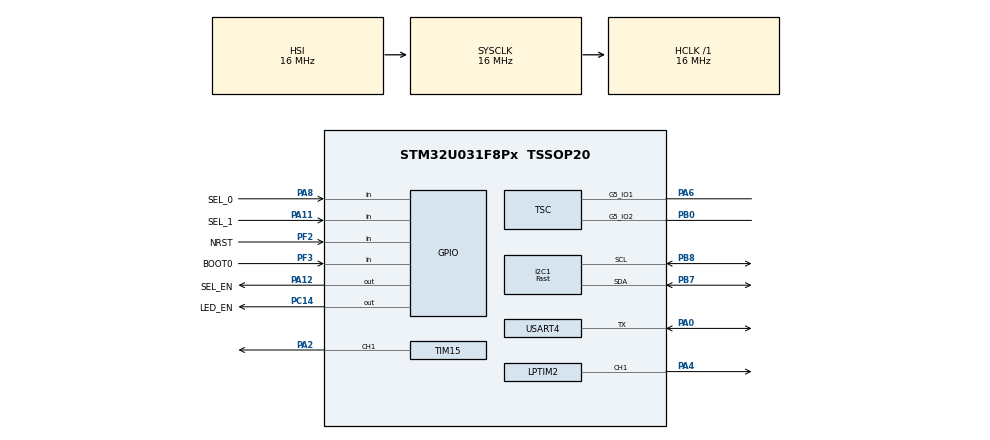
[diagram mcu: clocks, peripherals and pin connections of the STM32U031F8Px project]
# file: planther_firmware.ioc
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Dma.Request0=TIM15_CH1
Dma.TIM15_CH1.0.Direction=DMA_MEMORY_TO_PERIPH
Dma.TIM15_CH1.0.EventEnable=DISABLE
Dma.TIM15_CH1.0.Instance=DMA1_Channel1
Dma.TIM15_CH1.0.MemDataAlignment=DMA_MDATAALIGN_HALFWORD
Dma.TIM15_CH1.0.MemInc=DMA_MINC_ENABLE
Dma.TIM15_CH1.0.Mode=DMA_NORMAL
Dma.TIM15_CH1.0.PeriphDataAlignment=DMA_PDATAALIGN_HALFWORD
Dma.TIM15_CH1.0.PeriphInc=DMA_PINC_DISABLE
Dma.TIM15_CH1.0.Polarity=HAL_DMAMUX_REQ_GEN_RISING
Dma.TIM15_CH1.0.Priority=DMA_PRIORITY_LOW
Dma.TIM15_CH1.0.RequestNumber=1
Dma.TIM15_CH1.0.SignalID=NONE
Dma.TIM15_CH1.0.SyncEnable=DISABLE
Dma.TIM15_CH1.0.SyncPolarity=HAL_DMAMUX_SYNC_NO_EVENT
Dma.TIM15_CH1.0.SyncRequestNumber=1
Dma.TIM15_CH1.0.SyncSignalID=NONE
I2C1.I2C_Speed_Mode=I2C_Fast
I2C1.Timing=0x0010061A
LPTIM1.ClockPrescaler=LPTIM_PRESCALER_DIV32
LPTIM2.Period=4 - 1
Mcu.Family=STM32U0
Mcu.Name=STM32U031F8Px
Mcu.Package=TSSOP20
NVIC.DMA1_Channel1_IRQn=true\:0\:0\:false\:false\:true\:false\:true\:true
NVIC.PriorityGroup=NVIC_PRIORITYGROUP_2
NVIC.TIM6_DAC_LPTIM1_IRQn=true\:0\:0\:false\:false\:true\:true\:true\:true
PA0-CK_IN.Mode=Half_duplex(single_wire_mode)
PA0-CK_IN.Signal=USART4_TX
PA11\ [PA9].GPIO_Label=SEL_1
PA11\ [PA9].Signal=GPIO_Input
PA12\ [PA10].GPIO_Label=SEL_EN
PA12\ [PA10].Signal=GPIO_Output
PA13\ (SWDIO).Mode=Serial_Wire
PA13\ (SWDIO).Signal=DEBUG_JTMS-SWDIO
PA14\ (SWCLK).Mode=Serial_Wire
PA14\ (SWCLK).Signal=DEBUG_JTCK-SWCLK
PA14\ (SWCLK)__PB4__PB5__PB6.StandardMode=true
PA1__PA2.StandardMode=true
PA2.Signal=S_TIM15_CH1
PA3__PA4.StandardMode=true
PA4.Signal=S_LPTIM2_CH1
PA5__PA6.StandardMode=true
PA6.Mode=G5_IO1-Sampling
PA6.Signal=TSC_G5_IO1
PA7__PB0.StandardMode=true
PA8.GPIO_Label=SEL_0
PA8.Signal=GPIO_Input
PB0.Mode=G5_IO2-Channel
PB0.Signal=TSC_G5_IO2
PB7.Mode=I2C
PB7.Signal=I2C1_SDA
PB8.Mode=I2C
PB8.Signal=I2C1_SCL
PB8__PB9.StandardMode=true
PC14-OSC32_IN.GPIO_Label=LED_EN
PC14-OSC32_IN.GPIO_ModeDefaultOutputPP=GPIO_MODE_OUTPUT_PP
PC14-OSC32_IN.GPIO_PuPd=GPIO_NOPULL
PC14-OSC32_IN.Signal=GPIO_Output
PF2-NRST.GPIO_Label=NRST
PF2-NRST.Signal=GPIO_Input
PF3-BOOT0\ (BOOT0).GPIO_Label=BOOT0
PF3-BOOT0\ (BOOT0).Signal=GPIO_Input
ProjectManager.HeapSize=0x200
ProjectManager.StackSize=0x400
ProjectManager.TargetToolchain=STM32CubeIDE
RCC.ADCFreq_Value=16000000
RCC.AHBFreq_Value=16000000
RCC.CortexFreq_Value=16000000
RCC.HCLKFreq_Value=16000000
RCC.HSE_VALUE=4000000
RCC.HSI48_VALUE=48000000
RCC.HSI_VALUE=16000000
RCC.LPTIM1CLockSelection=RCC_LPTIM1CLKSOURCE_LSI
RCC.LPTIM2CLockSelection=RCC_LPTIM2CLKSOURCE_LSI
RCC.LSE_VALUE=32768
RCC.MSI_VALUE=4000000
RCC.SYSCLKFreq_VALUE=16000000
RCC.VCOOutputFreq_Value=64000000
RCC.VDD_VALUE=3
SH.S_LPTIM2_CH1.0=LPTIM2_CH1,OutputIO_CH1
SH.S_TIM15_CH1.0=TIM15_CH1,PWM Generation1 CH1
TIM15.Channel-PWM\ Generation1\ CH1=TIM_CHANNEL_1
TIM15.OC1Preload_PWM=DISABLE
TIM15.OCFastMode_PWM-PWM\ Generation1\ CH1=TIM_OCFAST_ENABLE
TIM15.Period=20 - 1
TSC.ChannelIOs-G5_IO2-Channel=TSC_GROUP5_IO2
TSC.SamplingIOs-G5_IO1-Sampling=TSC_GROUP5_IO1
USART4.VirtualMode=VM_ASYNC
VP_LPTIM1_VS_LPTIM_counterModeInternalClock.Mode=Counts__internal_clock_event_00
VP_LPTIM2_VS_CH1.Mode=Channel_1_Active
VP_LPTIM2_VS_LPTIM_counterModeInternalClock.Mode=Counts__internal_clock_event_00
VP_PWR_VS_SECSignals.Mode=Security/Privilege
board=custom

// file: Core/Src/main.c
/* USER CODE BEGIN Header */
/**
 **************************
 * @file           : main.c
 * @brief          : Main program body
 **************************
 * @attention
 *
 * Copyright (c) 2024 STMicroelectronics.
 * All rights reserved.
 *
 * This software is licensed under terms that can be found in the LICENSE file
 * in the root directory of this software component.
 * If no LICENSE file comes with this software, it is provided AS-IS.
 *
 **************************
 */
/* USER CODE END Header */
#include "main.h"

/* USER CODE BEGIN Includes */
#include <stdbool.h>
#include "shtc3.h"
#include "bh1750.h"
/* USER CODE END Includes */

/* USER CODE BEGIN PTD */
typedef enum {
	SENSORS_GROUP_1 = 0x0,
	SENSORS_GROUP_2 = 0x1,
	SENSORS_GROUP_3 = 0x2
} sensors_group_t;

typedef enum {
	SENSORS_THRESHOLD_NO_EVENT   = 0x0,
	SENSORS_THRESHOLD_TEMP_LOW   = 0x1,
	SENSORS_THRESHOLD_TEMP_HIGH  = 0x2,
	SENSORS_THRESHOLD_SOIL_LOW   = 0x4,
	SENSORS_THRESHOLD_SOIL_HIGH  = 0x8,
	SENSORS_THRESHOLD_HUM_LOW    = 0x10,
	SENSORS_THRESHOLD_HUM_HIGH   = 0x20,
	SENSORS_THRESHOLD_LIGHT_LOW  = 0x40,
	SENSORS_THRESHOLD_LIGHT_HIGH = 0x80,
} sensors_threshold_t;

typedef enum {
	SENSORS_EVENT_1 = SENSORS_THRESHOLD_TEMP_HIGH | SENSORS_THRESHOLD_SOIL_LOW,   /* Thermal and water stress */
	SENSORS_EVENT_2 = SENSORS_THRESHOLD_LIGHT_HIGH | SENSORS_THRESHOLD_SOIL_LOW,  /* Light and water stress */
	SENSORS_EVENT_3 = SENSORS_THRESHOLD_SOIL_LOW,                                 /* Water stress */
	SENSORS_EVENT_4 = SENSORS_THRESHOLD_TEMP_LOW | SENSORS_THRESHOLD_SOIL_HIGH,   /* Cold waterlogging */
	SENSORS_EVENT_5 = SENSORS_THRESHOLD_TEMP_HIGH | SENSORS_THRESHOLD_HUM_HIGH,   /* Heat stress and illness */
	SENSORS_EVENT_6 = SENSORS_THRESHOLD_TEMP_LOW | SENSORS_THRESHOLD_HUM_LOW,     /* Risk of dehydration due to cold */
	SENSORS_EVENT_7 = SENSORS_THRESHOLD_LIGHT_HIGH | SENSORS_THRESHOLD_TEMP_HIGH, /* Thermal and light stress */
	SENSORS_EVENT_8 = SENSORS_THRESHOLD_NO_EVENT                                  /* Optimal conditions */
} sensors_event_t;

typedef struct {
	uint16_t high;
	uint16_t low;
} sensors_levels_t;

typedef struct {
	sensors_levels_t soil;	/* Soil moisture */
	sensors_levels_t temp;	/* Temperature */
	sensors_levels_t hum;	/* Relative humidity */
	sensors_levels_t light;	/* Ambient light */
} sensors_thresholds_t;

typedef struct {
	uint16_t soil;	/* Soil moisture */
	uint16_t temp;	/* Temperature */
	uint16_t hum;	/* Relative humidity */
	uint16_t light;	/* Ambient light */
} sensors_values_t;

typedef struct {
	sensors_thresholds_t thresholds;
	sensors_values_t values;
} sensors_t;

typedef enum {
	LED_COLOR_OFF          = 0x000000,
    LED_COLOR_RED          = 0x001000, // (0,  16, 0)
    LED_COLOR_ORANGE       = 0x081800, // (8,  24, 0)
    LED_COLOR_TURQUOISE    = 0x100010, // (16, 0,  16)
    LED_COLOR_BLUE         = 0x000010, // (0,  0,  16)
    LED_COLOR_YELLOW       = 0x101000, // (16, 16, 0)
    LED_COLOR_PURPLE       = 0x001010, // (0,  16, 16)
    LED_COLOR_WHITE        = 0x0B0B0B, // (10, 10, 10)
    LED_COLOR_GREEN        = 0x100000, // (16, 0,  0)
} led_color_t;

/* USER CODE END PTD */

/* USER CODE BEGIN PD */
//#define UART_DEBUG

/* Set the Timeout value */
#define TIMEOUT_DEFAULT	(uint16_t)(9999) /* 10 s */

#define SOIL_MOISTURE_MAX 3600
#define SOIL_MOISTURE_MIN 500

/* USER CODE END PD */

I2C_HandleTypeDef hi2c1;

LPTIM_HandleTypeDef hlptim1;
LPTIM_HandleTypeDef hlptim2;

TIM_HandleTypeDef htim15;
DMA_HandleTypeDef hdma_tim15_ch1;

TSC_HandleTypeDef htsc;

UART_HandleTypeDef huart4;

/* USER CODE BEGIN PV */
static shtc3_t shtc3;
static bh1750_t bh1750;

volatile uint16_t pwm_buf[24 + 50];
volatile int pwm_flag = 0;

static uint8_t threshold = 0;

static sensors_t sensors;

static uint32_t events[8] = {
		SENSORS_EVENT_1, /* Thermal and water stress */
		SENSORS_EVENT_2, /* Light and water stress */
		SENSORS_EVENT_3, /* Water stress */
		SENSORS_EVENT_4, /* Cold waterlogging */
		SENSORS_EVENT_5, /* Heat stress and illness */
		SENSORS_EVENT_6, /* Risk of dehydration due to cold */
		SENSORS_EVENT_7, /* Thermal and light stress */
		SENSORS_EVENT_8  /* Optimal conditions */
};

/* USER CODE END PV */

void SystemClock_Config(void);
static void MX_GPIO_Init(void);
static void MX_DMA_Init(void);
static void MX_LPTIM1_Init(void);
static void MX_TSC_Init(void);
static void MX_I2C1_Init(void);
static void MX_TIM15_Init(void);
static void MX_LPTIM2_Init(void);
static void MX_USART4_UART_Init(void);
/* USER CODE BEGIN PFP */
static void stop2_enter(void);
static void perif_stop(void);
static void perif_start(void);
static void buzzer_set(bool enable);
static void led_set (led_color_t color);

static void sensors_set_thresholds(sensors_t *sensors);
static uint8_t sensors_get_threshold(sensors_t *sensors);
static uint32_t sensors_process_event(sensors_t *sensors);

/* USER CODE END PFP */

/* USER CODE BEGIN 0 */
int __io_putchar(int ch)
{
	HAL_UART_Transmit(&huart4, (uint8_t *)&ch,1, 1000);
	return ch;
}
/* USER CODE END 0 */

int main(void)
{

  /* MCU Configuration--------------------------------------------------------*/

  /* Reset of all peripherals, Initializes the Flash interface and the Systick. */
  HAL_Init();

  /* Configure the system clock */
  SystemClock_Config();

  /* Initialize all configured peripherals */
  MX_GPIO_Init();
  MX_DMA_Init();
  MX_LPTIM1_Init();
  MX_TSC_Init();
  MX_I2C1_Init();
  MX_TIM15_Init();
  MX_LPTIM2_Init();
  MX_USART4_UART_Init();
  /* USER CODE BEGIN 2 */
  printf("\r\n*** System init successfully ***\r\n");

  shtc3_init(&shtc3, &hi2c1, SHTC3_I2C_ADDR);
  bh1750_init(&bh1750, &hi2c1, BH1750_I2C_ADDR);
  /* USER CODE END 2 */

  /* Infinite loop */
  while (1) {

    /* USER CODE BEGIN 3 */
	perif_start();

	/* Read the sensors */
	sensors_set_thresholds(&sensors);
	threshold = sensors_get_threshold(&sensors);
	threshold = 25;
	printf("soil:%d  temp:%d, hum:%d  light:%d  threshold:%d\r\n",
		  sensors.values.soil, sensors.values.temp, sensors.values.hum, sensors.values.light, threshold);

	perif_stop();

    /* Set the alarms status */
	sensors_process_event(&sensors);

    stop2_enter();
  }
  /* USER CODE END 3 */
}

void SystemClock_Config(void)
{
  RCC_OscInitTypeDef RCC_OscInitStruct = {0};
  RCC_ClkInitTypeDef RCC_ClkInitStruct = {0};

  /** Configure the main internal regulator output voltage
  */
  HAL_PWREx_ControlVoltageScaling(PWR_REGULATOR_VOLTAGE_SCALE2);

  /** Initializes the RCC Oscillators according to the specified parameters
  * in the RCC_OscInitTypeDef structure.
  */
  RCC_OscInitStruct.OscillatorType = RCC_OSCILLATORTYPE_HSI|RCC_OSCILLATORTYPE_LSI;
  RCC_OscInitStruct.HSIState = RCC_HSI_ON;
  RCC_OscInitStruct.HSICalibrationValue = RCC_HSICALIBRATION_DEFAULT;
  RCC_OscInitStruct.LSIState = RCC_LSI_ON;
  RCC_OscInitStruct.PLL.PLLState = RCC_PLL_NONE;
  if (HAL_RCC_OscConfig(&RCC_OscInitStruct) != HAL_OK)
  {
    Error_Handler();
  }

  /** Initializes the CPU, AHB and APB buses clocks
  */
  RCC_ClkInitStruct.ClockType = RCC_CLOCKTYPE_HCLK|RCC_CLOCKTYPE_SYSCLK
                              |RCC_CLOCKTYPE_PCLK1;
  RCC_ClkInitStruct.SYSCLKSource = RCC_SYSCLKSOURCE_HSI;
  RCC_ClkInitStruct.AHBCLKDivider = RCC_SYSCLK_DIV1;
  RCC_ClkInitStruct.APB1CLKDivider = RCC_HCLK_DIV1;

  if (HAL_RCC_ClockConfig(&RCC_ClkInitStruct, FLASH_LATENCY_1) != HAL_OK)
  {
    Error_Handler();
  }
}

static void MX_I2C1_Init(void)
{

  hi2c1.Instance = I2C1;
  hi2c1.Init.Timing = 0x0010061A;
  hi2c1.Init.OwnAddress1 = 0;
  hi2c1.Init.AddressingMode = I2C_ADDRESSINGMODE_7BIT;
  hi2c1.Init.DualAddressMode = I2C_DUALADDRESS_DISABLE;
  hi2c1.Init.OwnAddress2 = 0;
  hi2c1.Init.OwnAddress2Masks = I2C_OA2_NOMASK;
  hi2c1.Init.GeneralCallMode = I2C_GENERALCALL_DISABLE;
  hi2c1.Init.NoStretchMode = I2C_NOSTRETCH_DISABLE;
  if (HAL_I2C_Init(&hi2c1) != HAL_OK)
  {
    Error_Handler();
  }

  /** Configure Analogue filter
  */
  if (HAL_I2CEx_ConfigAnalogFilter(&hi2c1, I2C_ANALOGFILTER_ENABLE) != HAL_OK)
  {
    Error_Handler();
  }

  /** Configure Digital filter
  */
  if (HAL_I2CEx_ConfigDigitalFilter(&hi2c1, 0) != HAL_OK)
  {
    Error_Handler();
  }

}

static void MX_LPTIM1_Init(void)
{

  hlptim1.Instance = LPTIM1;
  hlptim1.Init.Clock.Source = LPTIM_CLOCKSOURCE_APBCLOCK_LPOSC;
  hlptim1.Init.Clock.Prescaler = LPTIM_PRESCALER_DIV32;
  hlptim1.Init.Trigger.Source = LPTIM_TRIGSOURCE_SOFTWARE;
  hlptim1.Init.Period = 65535;
  hlptim1.Init.UpdateMode = LPTIM_UPDATE_IMMEDIATE;
  hlptim1.Init.CounterSource = LPTIM_COUNTERSOURCE_INTERNAL;
  hlptim1.Init.Input1Source = LPTIM_INPUT1SOURCE_GPIO;
  hlptim1.Init.Input2Source = LPTIM_INPUT2SOURCE_GPIO;
  hlptim1.Init.RepetitionCounter = 0;
  if (HAL_LPTIM_Init(&hlptim1) != HAL_OK)
  {
    Error_Handler();
  }

}

static void MX_LPTIM2_Init(void)
{

  LPTIM_OC_ConfigTypeDef sConfig1 = {0};

  hlptim2.Instance = LPTIM2;
  hlptim2.Init.Clock.Source = LPTIM_CLOCKSOURCE_APBCLOCK_LPOSC;
  hlptim2.Init.Clock.Prescaler = LPTIM_PRESCALER_DIV1;
  hlptim2.Init.Trigger.Source = LPTIM_TRIGSOURCE_SOFTWARE;
  hlptim2.Init.Period = 4 - 1;
  hlptim2.Init.UpdateMode = LPTIM_UPDATE_IMMEDIATE;
  hlptim2.Init.CounterSource = LPTIM_COUNTERSOURCE_INTERNAL;
  hlptim2.Init.Input1Source = LPTIM_INPUT1SOURCE_GPIO;
  hlptim2.Init.RepetitionCounter = 0;
  if (HAL_LPTIM_Init(&hlptim2) != HAL_OK)
  {
    Error_Handler();
  }
  sConfig1.Pulse = 0;
  sConfig1.OCPolarity = LPTIM_OCPOLARITY_HIGH;
  if (HAL_LPTIM_OC_ConfigChannel(&hlptim2, &sConfig1, LPTIM_CHANNEL_1) != HAL_OK)
  {
    Error_Handler();
  }
  HAL_LPTIM_MspPostInit(&hlptim2);

}

static void MX_TIM15_Init(void)
{

  TIM_MasterConfigTypeDef sMasterConfig = {0};
  TIM_OC_InitTypeDef sConfigOC = {0};
  TIM_BreakDeadTimeConfigTypeDef sBreakDeadTimeConfig = {0};

  htim15.Instance = TIM15;
  htim15.Init.Prescaler = 0;
  htim15.Init.CounterMode = TIM_COUNTERMODE_UP;
  htim15.Init.Period = 20 - 1;
  htim15.Init.ClockDivision = TIM_CLOCKDIVISION_DIV1;
  htim15.Init.RepetitionCounter = 0;
  htim15.Init.AutoReloadPreload = TIM_AUTORELOAD_PRELOAD_DISABLE;
  if (HAL_TIM_PWM_Init(&htim15) != HAL_OK)
  {
    Error_Handler();
  }
  sMasterConfig.MasterOutputTrigger = TIM_TRGO_RESET;
  sMasterConfig.MasterSlaveMode = TIM_MASTERSLAVEMODE_DISABLE;
  if (HAL_TIMEx_MasterConfigSynchronization(&htim15, &sMasterConfig) != HAL_OK)
  {
    Error_Handler();
  }
  sConfigOC.OCMode = TIM_OCMODE_PWM1;
  sConfigOC.Pulse = 0;
  sConfigOC.OCPolarity = TIM_OCPOLARITY_HIGH;
  sConfigOC.OCNPolarity = TIM_OCNPOLARITY_HIGH;
  sConfigOC.OCFastMode = TIM_OCFAST_ENABLE;
  sConfigOC.OCIdleState = TIM_OCIDLESTATE_RESET;
  sConfigOC.OCNIdleState = TIM_OCNIDLESTATE_RESET;
  if (HAL_TIM_PWM_ConfigChannel(&htim15, &sConfigOC, TIM_CHANNEL_1) != HAL_OK)
  {
    Error_Handler();
  }
  __HAL_TIM_DISABLE_OCxPRELOAD(&htim15, TIM_CHANNEL_1);
  sBreakDeadTimeConfig.OffStateRunMode = TIM_OSSR_DISABLE;
  sBreakDeadTimeConfig.OffStateIDLEMode = TIM_OSSI_DISABLE;
  sBreakDeadTimeConfig.LockLevel = TIM_LOCKLEVEL_OFF;
  sBreakDeadTimeConfig.DeadTime = 0;
  sBreakDeadTimeConfig.BreakState = TIM_BREAK_DISABLE;
  sBreakDeadTimeConfig.BreakPolarity = TIM_BREAKPOLARITY_HIGH;
  sBreakDeadTimeConfig.BreakFilter = 0;
  sBreakDeadTimeConfig.AutomaticOutput = TIM_AUTOMATICOUTPUT_DISABLE;
  if (HAL_TIMEx_ConfigBreakDeadTime(&htim15, &sBreakDeadTimeConfig) != HAL_OK)
  {
    Error_Handler();
  }
  HAL_TIM_MspPostInit(&htim15);

}

static void MX_TSC_Init(void)
{

  /** Configure the TSC peripheral
  */
  htsc.Instance = TSC;
  htsc.Init.CTPulseHighLength = TSC_CTPH_2CYCLES;
  htsc.Init.CTPulseLowLength = TSC_CTPL_2CYCLES;
  htsc.Init.SpreadSpectrum = DISABLE;
  htsc.Init.SpreadSpectrumDeviation = 1;
  htsc.Init.SpreadSpectrumPrescaler = TSC_SS_PRESC_DIV1;
  htsc.Init.PulseGeneratorPrescaler = TSC_PG_PRESC_DIV4;
  htsc.Init.MaxCountValue = TSC_MCV_8191;
  htsc.Init.IODefaultMode = TSC_IODEF_OUT_PP_LOW;
  htsc.Init.SynchroPinPolarity = TSC_SYNC_POLARITY_FALLING;
  htsc.Init.AcquisitionMode = TSC_ACQ_MODE_NORMAL;
  htsc.Init.MaxCountInterrupt = DISABLE;
  htsc.Init.ShieldIOs = 0;
  htsc.Init.ChannelIOs = TSC_GROUP5_IO2;
  htsc.Init.SamplingIOs = TSC_GROUP5_IO1;
  if (HAL_TSC_Init(&htsc) != HAL_OK)
  {
    Error_Handler();
  }
  HAL_SYSCFG_DisableTSCComparatorMode();
  /* USER CODE BEGIN TSC_Init 2 */
  HAL_TSC_IODischarge(&htsc, ENABLE);
  HAL_Delay(1); /* 1 ms is more than enough to discharge all capacitors */

  if (HAL_TSC_Start(&htsc) != HAL_OK)
  {
    Error_Handler();
  }
  /* USER CODE END TSC_Init 2 */

}

static void MX_USART4_UART_Init(void)
{

  huart4.Instance = USART4;
  huart4.Init.BaudRate = 115200;
  huart4.Init.WordLength = UART_WORDLENGTH_8B;
  huart4.Init.StopBits = UART_STOPBITS_1;
  huart4.Init.Parity = UART_PARITY_NONE;
  huart4.Init.Mode = UART_MODE_TX_RX;
  huart4.Init.HwFlowCtl = UART_HWCONTROL_NONE;
  huart4.Init.OverSampling = UART_OVERSAMPLING_16;
  huart4.Init.OneBitSampling = UART_ONE_BIT_SAMPLE_DISABLE;
  huart4.Init.ClockPrescaler = UART_PRESCALER_DIV1;
  huart4.AdvancedInit.AdvFeatureInit = UART_ADVFEATURE_NO_INIT;
  if (HAL_HalfDuplex_Init(&huart4) != HAL_OK)
  {
    Error_Handler();
  }
  if (HAL_UARTEx_SetTxFifoThreshold(&huart4, UART_TXFIFO_THRESHOLD_1_8) != HAL_OK)
  {
    Error_Handler();
  }
  if (HAL_UARTEx_SetRxFifoThreshold(&huart4, UART_RXFIFO_THRESHOLD_1_8) != HAL_OK)
  {
    Error_Handler();
  }
  if (HAL_UARTEx_DisableFifoMode(&huart4) != HAL_OK)
  {
    Error_Handler();
  }

}

static void MX_DMA_Init(void)
{

  /* DMA controller clock enable */
  __HAL_RCC_DMA1_CLK_ENABLE();

  /* DMA interrupt init */
  /* DMA1_Channel1_IRQn interrupt configuration */
  HAL_NVIC_SetPriority(DMA1_Channel1_IRQn, 0, 0);
  HAL_NVIC_EnableIRQ(DMA1_Channel1_IRQn);

}

static void MX_GPIO_Init(void)
{
  GPIO_InitTypeDef GPIO_InitStruct = {0};

  /* GPIO Ports Clock Enable */
  __HAL_RCC_GPIOB_CLK_ENABLE();
  __HAL_RCC_GPIOC_CLK_ENABLE();
  __HAL_RCC_GPIOF_CLK_ENABLE();
  __HAL_RCC_GPIOA_CLK_ENABLE();

  /*Configure GPIO pin Output Level */
  HAL_GPIO_WritePin(LED_EN_GPIO_Port, LED_EN_Pin, GPIO_PIN_RESET);

  /*Configure GPIO pin Output Level */
  HAL_GPIO_WritePin(SEL_EN_GPIO_Port, SEL_EN_Pin, GPIO_PIN_RESET);

  /*Configure GPIO pins : PB9 PB1 PB4 PB5
                           PB6 */
  GPIO_InitStruct.Pin = GPIO_PIN_9|GPIO_PIN_1|GPIO_PIN_4|GPIO_PIN_5
                          |GPIO_PIN_6;
  GPIO_InitStruct.Mode = GPIO_MODE_ANALOG;
  GPIO_InitStruct.Pull = GPIO_NOPULL;
  HAL_GPIO_Init(GPIOB, &GPIO_InitStruct);

  /*Configure GPIO pin : LED_EN_Pin */
  GPIO_InitStruct.Pin = LED_EN_Pin;
  GPIO_InitStruct.Mode = GPIO_MODE_OUTPUT_PP;
  GPIO_InitStruct.Pull = GPIO_NOPULL;
  GPIO_InitStruct.Speed = GPIO_SPEED_FREQ_LOW;
  HAL_GPIO_Init(LED_EN_GPIO_Port, &GPIO_InitStruct);

  /*Configure GPIO pin : PC15 */
  GPIO_InitStruct.Pin = GPIO_PIN_15;
  GPIO_InitStruct.Mode = GPIO_MODE_ANALOG;
  GPIO_InitStruct.Pull = GPIO_NOPULL;
  HAL_GPIO_Init(GPIOC, &GPIO_InitStruct);

  /*Configure GPIO pins : NRST_Pin BOOT0_Pin */
  GPIO_InitStruct.Pin = NRST_Pin|BOOT0_Pin;
  GPIO_InitStruct.Mode = GPIO_MODE_INPUT;
  GPIO_InitStruct.Pull = GPIO_NOPULL;
  HAL_GPIO_Init(GPIOF, &GPIO_InitStruct);

  /*Configure GPIO pins : PA1 PA3 PA5 PA7 */
  GPIO_InitStruct.Pin = GPIO_PIN_1|GPIO_PIN_3|GPIO_PIN_5|GPIO_PIN_7;
  GPIO_InitStruct.Mode = GPIO_MODE_ANALOG;
  GPIO_InitStruct.Pull = GPIO_NOPULL;
  HAL_GPIO_Init(GPIOA, &GPIO_InitStruct);

  /*Configure GPIO pins : SEL_0_Pin SEL_1_Pin */
  GPIO_InitStruct.Pin = SEL_0_Pin|SEL_1_Pin;
  GPIO_InitStruct.Mode = GPIO_MODE_INPUT;
  GPIO_InitStruct.Pull = GPIO_NOPULL;
  HAL_GPIO_Init(GPIOA, &GPIO_InitStruct);

  /*Configure GPIO pin : SEL_EN_Pin */
  GPIO_InitStruct.Pin = SEL_EN_Pin;
  GPIO_InitStruct.Mode = GPIO_MODE_OUTPUT_PP;
  GPIO_InitStruct.Pull = GPIO_NOPULL;
  GPIO_InitStruct.Speed = GPIO_SPEED_FREQ_LOW;
  HAL_GPIO_Init(SEL_EN_GPIO_Port, &GPIO_InitStruct);

}

/* USER CODE BEGIN 4 */
void HAL_LPTIM_CompareMatchCallback(LPTIM_HandleTypeDef *hlptim) {
	HAL_LPTIM_TimeOut_Start_IT(&hlptim1, TIMEOUT_DEFAULT);
}

static void stop2_enter(void)
{
	HAL_SuspendTick();
	HAL_PWREx_EnterSTOP2Mode(PWR_SLEEPENTRY_WFI);
	SystemClock_Config();
	HAL_ResumeTick();
}

static void perif_stop(void)
{
	HAL_TSC_DeInit(&htsc);
	HAL_UART_DeInit(&huart4);
	HAL_I2C_DeInit(&hi2c1);
//	HAL_TIM_PWM_DeInit(&htim15);
//	HAL_DMA_DeInit(&hdma_tim15_ch1);
//	__HAL_RCC_DMA1_CLK_DISABLE();

	GPIO_InitTypeDef GPIO_InitStructure;

	__HAL_RCC_PWR_CLK_ENABLE();
	HAL_PWREx_EnableUltraLowPowerMode();
	__HAL_RCC_WAKEUPSTOP_CLK_CONFIG(RCC_STOP_WAKEUPCLOCK_MSI);

	//L011 only has Ports A B and C
	__HAL_RCC_GPIOA_CLK_ENABLE();
	__HAL_RCC_GPIOB_CLK_ENABLE();
	__HAL_RCC_GPIOC_CLK_ENABLE();
	__HAL_RCC_GPIOD_CLK_ENABLE();
	__HAL_RCC_GPIOF_CLK_ENABLE();

	GPIO_InitStructure.Pin = GPIO_PIN_ALL;
	GPIO_InitStructure.Mode = GPIO_MODE_ANALOG;
	GPIO_InitStructure.Pull = GPIO_NOPULL;
	HAL_GPIO_Init(GPIOB, &GPIO_InitStructure);
	HAL_GPIO_Init(GPIOD, &GPIO_InitStructure);
	HAL_GPIO_Init(GPIOF, &GPIO_InitStructure);

	GPIO_InitStructure.Pin = GPIO_PIN_ALL;
	GPIO_InitStructure.Pin &= ~(GPIO_PIN_2);
	GPIO_InitStructure.Pin &= ~(GPIO_PIN_4);
	HAL_GPIO_Init(GPIOA, &GPIO_InitStructure);

	GPIO_InitStructure.Pin = GPIO_PIN_ALL;
	GPIO_InitStructure.Pin &= ~(GPIO_PIN_14);
	HAL_GPIO_Init(GPIOC, &GPIO_InitStructure);

	__HAL_RCC_GPIOA_CLK_DISABLE();
	__HAL_RCC_GPIOB_CLK_DISABLE();
	__HAL_RCC_GPIOC_CLK_DISABLE();
	__HAL_RCC_GPIOD_CLK_DISABLE();
	__HAL_RCC_GPIOF_CLK_DISABLE();
}

static void perif_start(void)
{
  MX_GPIO_Init();
  MX_DMA_Init();
  MX_TSC_Init();
  MX_I2C1_Init();
  MX_TIM15_Init();
  MX_USART4_UART_Init();
}

static void sensors_set_thresholds(sensors_t *sensors)
{
	HAL_GPIO_WritePin(SEL_EN_GPIO_Port, SEL_EN_Pin, GPIO_PIN_SET);

	uint8_t sel0 = HAL_GPIO_ReadPin(SEL_0_GPIO_Port, SEL_0_Pin) & 0x1;
	uint8_t sel1 = (HAL_GPIO_ReadPin(SEL_1_GPIO_Port, SEL_1_Pin) << 1) & 0x2;

	HAL_GPIO_WritePin(SEL_EN_GPIO_Port, SEL_EN_Pin, GPIO_PIN_RESET);

	sensors_group_t group = sel0 | sel1;

	printf("mode:%d\r\n", group);

	switch (group) {
	case SENSORS_GROUP_1:
		sensors->thresholds.soil.low = 10;
		sensors->thresholds.soil.high = 20;
		sensors->thresholds.hum.low = 30;
		sensors->thresholds.hum.high = 50;
		sensors->thresholds.temp.low = 18;
		sensors->thresholds.temp.high = 30;
		sensors->thresholds.light.high = 30000;
		break;
	case SENSORS_GROUP_2:
		sensors->thresholds.soil.low = 40;
		sensors->thresholds.soil.high = 60;
		sensors->thresholds.hum.low = 50;
		sensors->thresholds.hum.high = 80;
		sensors->thresholds.temp.low = 20;
		sensors->thresholds.temp.high = 28;
		sensors->thresholds.light.high = 10000;
		break;
	case SENSORS_GROUP_3:
		sensors->thresholds.soil.low = 20;
		sensors->thresholds.soil.high = 60;
		sensors->thresholds.hum.low = 30;
		sensors->thresholds.hum.high = 70;
		sensors->thresholds.temp.low = 15;
		sensors->thresholds.temp.high = 30;
		sensors->thresholds.light.high = 10000;
		break;
	default:
		break;
	}
}

static uint8_t sensors_get_threshold(sensors_t *sensors)
{
	uint32_t tmp = 0;

	while (HAL_TSC_GetState(&htsc) == HAL_TSC_STATE_BUSY) {
	}

    __HAL_TSC_CLEAR_FLAG(&htsc, (TSC_FLAG_EOA | TSC_FLAG_MCE));

	if (HAL_TSC_GroupGetStatus(&htsc, TSC_GROUP5_IDX) == TSC_GROUP_COMPLETED) {
		tmp = HAL_TSC_GroupGetValue(&htsc, TSC_GROUP5_IDX);
	}

	if (tmp >= SOIL_MOISTURE_MAX) {
		sensors->values.soil = 0;
	}
	else if (tmp <= SOIL_MOISTURE_MIN) {
		sensors->values.soil = 100;
	}
	else {
		sensors->values.soil = 100 - ((tmp - SOIL_MOISTURE_MIN) * 100) / (SOIL_MOISTURE_MAX - SOIL_MOISTURE_MIN);
	}

	/* Read temperature and humidity sensor*/
	float temp, hum;
	shtc3_get_temp_and_hum(&shtc3, &temp, &hum);
	shtc3_sleep(&shtc3);
	sensors->values.temp = (uint16_t)temp;
	sensors->values.hum = (uint16_t)hum;

	/* Read ambient light sensors */
	float light;
	bh1750_power_on(&bh1750);
	bh1750_get_light_intensity(&bh1750, BH1750_MEAS_MODE_ONETIME_4LX_RES, &light);
	bh1750_power_down(&bh1750);
	sensors->values.light = (uint16_t)light;

	/* Compare the current sensors values against their thresholds  and get
	 * the current active thresholds */
	uint8_t threshold = 0;

	if (sensors->values.temp < sensors->thresholds.temp.low) {
		threshold |= SENSORS_THRESHOLD_TEMP_LOW;
	}
	else if (sensors->values.temp > sensors->thresholds.temp.high) {
		threshold |= SENSORS_THRESHOLD_TEMP_HIGH;
	}

	if (sensors->values.hum < sensors->thresholds.hum.low) {
		threshold |= SENSORS_THRESHOLD_HUM_LOW;
	}
	else if (sensors->values.hum > sensors->thresholds.hum.high) {
		threshold |= SENSORS_THRESHOLD_HUM_HIGH;
	}

	if (sensors->values.soil < sensors->thresholds.soil.low) {
		threshold |= SENSORS_THRESHOLD_SOIL_LOW;
	}
	else if (sensors->values.soil > sensors->thresholds.soil.high) {
		threshold |= SENSORS_THRESHOLD_SOIL_HIGH;
	}

	if (sensors->values.light > sensors->thresholds.light.high) {
		threshold |= SENSORS_THRESHOLD_LIGHT_HIGH;
	}

	return threshold;
}

static uint32_t sensors_process_event(sensors_t *sensors)
{
	uint32_t led_time = 100;
	uint32_t led_color = LED_COLOR_OFF;
	uint32_t event = SENSORS_EVENT_8;
	uint32_t timeout = 9999; /* todo: put in macros */
	bool buzzer_en = true;

	for (uint8_t i = 0; i < 8; i++) {
		if ((events[i] & threshold) == events[i]) {
			event = events[i];
			break;
		}
	}

	/**/
	switch (event) {
	case SENSORS_EVENT_1:
		led_color = LED_COLOR_BLUE;
		break;
	case SENSORS_EVENT_2:
		led_color = LED_COLOR_ORANGE;
		break;
	case SENSORS_EVENT_3:
		led_color = LED_COLOR_PURPLE;
		break;
	case SENSORS_EVENT_4:
		led_color = LED_COLOR_RED;
		break;
	case SENSORS_EVENT_5:
		led_color = LED_COLOR_TURQUOISE;
		break;
	case SENSORS_EVENT_6:
		led_color = LED_COLOR_WHITE;
		break;
	case SENSORS_EVENT_7:
		led_color = LED_COLOR_YELLOW;
		break;
	case SENSORS_EVENT_8:
		led_color = LED_COLOR_GREEN;
		led_time = 200;
		buzzer_en = false;
		timeout = 29330;
		break;
	default:
		break;
	}

	/**/
	led_set(led_color);
	buzzer_set(buzzer_en);
	HAL_LPTIM_TimeOut_Start_IT(&hlptim1, led_time);
	stop2_enter();
	buzzer_set(false);
	led_set(LED_COLOR_OFF);

	/**/
	HAL_LPTIM_TimeOut_Start_IT(&hlptim1, timeout);
}

static void buzzer_set(bool enable)
{
	if (enable) {
		HAL_LPTIM_PWM_Start(&hlptim2, LPTIM_CHANNEL_1);
	}
	else {
		HAL_LPTIM_PWM_Stop(&hlptim2, LPTIM_CHANNEL_1);
	}
}

static void led_set(led_color_t color)
{
	if (color != LED_COLOR_OFF) {
		__HAL_RCC_GPIOC_CLK_ENABLE();
		HAL_GPIO_WritePin(LED_EN_GPIO_Port, LED_EN_Pin, GPIO_PIN_SET);
		HAL_Delay(1);

		uint8_t g = (uint8_t)((color & 0xFF0000) >> 16);
		uint8_t r = (uint8_t)((color & 0x00FF00) >> 8);
		uint8_t b = (uint8_t)(color & 0x0000FF);
		uint8_t delta = 1;

		if (sensors.values.light < 100) {
			delta = 8;
		}
		else if (sensors.values.light < 1000) {
			delta = 4;
		}

		color = ((g / delta) << 16) | ((r / delta) << 8) | (b / delta);

		uint32_t pwm_buf_len = 0;

		for (int i = 23; i >= 0; i--)
		{
			if (color & (1 << i)) {
				pwm_buf[pwm_buf_len] = 14;  // 2/3 of 90
			}
			else {
				pwm_buf[pwm_buf_len] = 6;  // 1/3 of 90
			}

			pwm_buf_len++;
		}

		for (int i = 0; i < 50; i++) {
			pwm_buf[pwm_buf_len++] = 0;
		}

		HAL_TIM_PWM_Start_DMA(&htim15, TIM_CHANNEL_1, (uint32_t *)pwm_buf, pwm_buf_len);

		while (!pwm_flag) {}
	}
	else {
		HAL_TIM_PWM_DeInit(&htim15);
		HAL_DMA_DeInit(&hdma_tim15_ch1);
		__HAL_RCC_DMA1_CLK_DISABLE();

		__HAL_RCC_GPIOC_CLK_ENABLE();
		HAL_GPIO_WritePin(LED_EN_GPIO_Port, LED_EN_Pin, GPIO_PIN_RESET);
		__HAL_RCC_GPIOC_CLK_DISABLE();
	}
}

void HAL_TIM_PWM_PulseFinishedCallback(TIM_HandleTypeDef *htim)
{
	HAL_TIM_PWM_Stop_DMA(&htim15, TIM_CHANNEL_1);
	pwm_flag = 1;
}

/* USER CODE END 4 */

void Error_Handler(void)
{
  /* USER CODE BEGIN Error_Handler_Debug */
	printf("error handler...\r\n");
  /* User can add his own implementation to report the HAL error return state */
  __disable_irq();
  while (1) {
  }
  /* USER CODE END Error_Handler_Debug */
}
